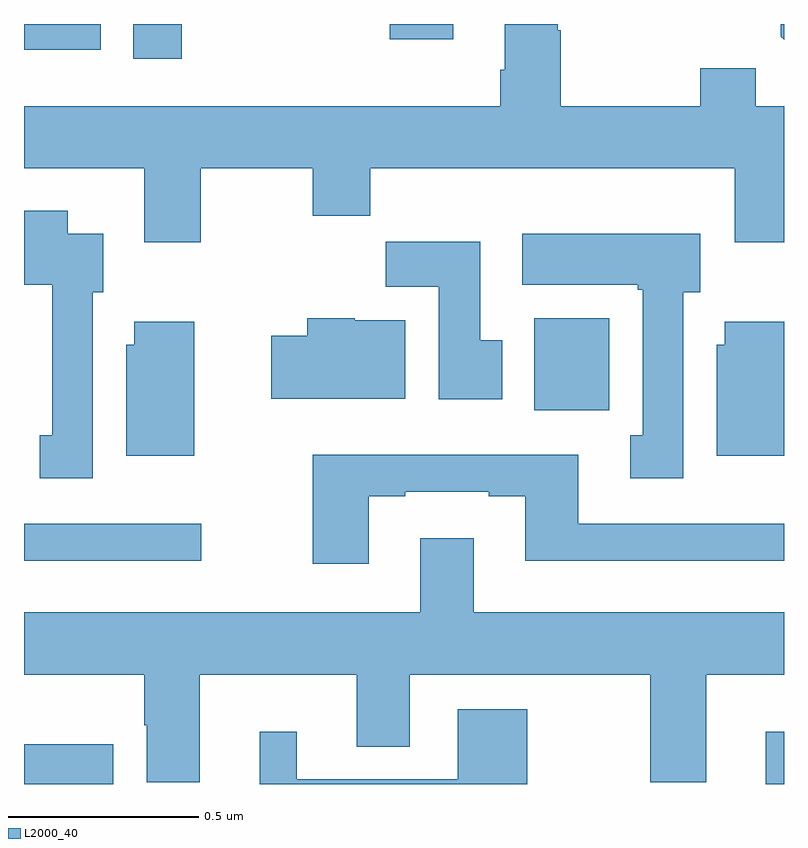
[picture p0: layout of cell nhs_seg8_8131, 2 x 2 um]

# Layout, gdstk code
import gdstk
lib = gdstk.Library(unit=1e-6, precision=1e-09)
def R(c, l, rs):  # rectangles x0, y0, x1, y1
    for r in rs: c.add(gdstk.rectangle(r[:2], r[2:], *l))
def P(c, l, *ps):  # polygons
    for p in ps: c.add(gdstk.Polygon(p, *l))
L2000_40 = (2000, 40)

nhs_seg8_8131 = lib.new_cell('nhs_seg8_8131')
R(nhs_seg8_8131, L2000_40, [(219,1094.9,219.235,1095.004), (220.952,1094.9,221,1095.037), (219,1095.488,219.466,1095.585), (220.343,1095.884,220.54,1096.126), (219.287,1096.809,219.415,1096.9), (219,1096.832,219.202,1096.9), (219.962,1096.86,220.129,1096.9)])
P(nhs_seg8_8131, L2000_40, [(219.465,1096.52),(219.76,1096.52),(219.76,1096.396),(219.911,1096.396),(219.911,1096.52),(220.871,1096.52),(220.871,1096.326),(221,1096.326),(221,1096.684),(220.926,1096.684),(220.926,1096.783),(220.78,1096.783),(220.78,1096.684),(220.413,1096.684),(220.413,1096.883),(220.405,1096.883),(220.405,1096.9),(220.265,1096.9),(220.265,1096.78),(220.253,1096.78),(220.253,1096.684),(219,1096.684),(219,1096.52),(219.317,1096.52),(219.317,1096.326),(219.465,1096.326)],
  [(221,1096.9),(220.992,1096.9),(220.992,1096.866),(221,1096.858)],
  [(219.181,1096.194),(219.208,1096.194),(219.208,1096.348),(219.115,1096.348),(219.115,1096.408),(219,1096.408),(219,1096.214),(219.074,1096.214),(219.074,1095.818),(219.041,1095.818),(219.041,1095.705),(219.181,1095.705)],
  [(220.735,1096.194),(220.78,1096.194),(220.78,1096.348),(220.311,1096.348),(220.311,1096.214),(220.615,1096.214),(220.615,1096.201),(220.628,1096.201),(220.628,1095.818),(220.595,1095.818),(220.595,1095.705),(220.735,1095.705)],
  [(220.258,1096.068),(220.201,1096.068),(220.201,1096.327),(219.952,1096.327),(219.952,1096.208),(220.091,1096.208),(220.091,1095.912),(220.258,1095.912)],
  [(220.003,1096.12),(219.87,1096.12),(219.87,1096.126),(219.745,1096.126),(219.745,1096.08),(219.651,1096.08),(219.651,1095.914),(220.003,1095.914)],
  [(219.448,1096.117),(219.29,1096.117),(219.29,1096.056),(219.269,1096.056),(219.269,1095.764),(219.448,1095.764)],
  [(221,1096.117),(220.844,1096.117),(220.844,1096.056),(220.823,1096.056),(220.823,1095.764),(221,1095.764)],
  [(219.907,1095.657),(220.003,1095.657),(220.003,1095.669),(220.223,1095.669),(220.223,1095.657),(220.319,1095.657),(220.319,1095.488),(221,1095.488),(221,1095.585),(220.459,1095.585),(220.459,1095.766),(219.76,1095.766),(219.76,1095.48),(219.907,1095.48)],
  [(219.463,1095.188),(219.875,1095.188),(219.875,1094.998),(220.015,1094.998),(220.015,1095.188),(220.648,1095.188),(220.648,1094.904),(220.795,1094.904),(220.795,1095.188),(221,1095.188),(221,1095.352),(220.183,1095.352),(220.183,1095.547),(220.043,1095.547),(220.043,1095.352),(219,1095.352),(219,1095.188),(219.316,1095.188),(219.316,1095.054),(219.323,1095.054),(219.323,1094.904),(219.463,1094.904)],
  [(220.324,1095.097),(220.142,1095.097),(220.142,1094.913),(219.718,1094.913),(219.718,1095.037),(219.62,1095.037),(219.62,1094.9),(220.324,1094.9)])

lib.write_gds('nhs_seg8_8131.gds')
